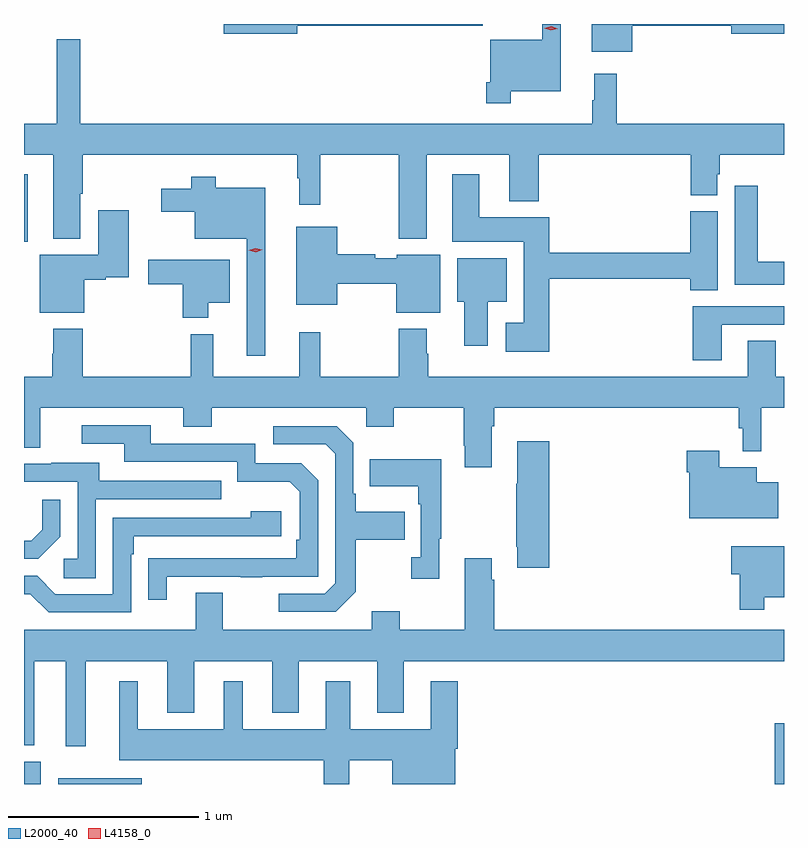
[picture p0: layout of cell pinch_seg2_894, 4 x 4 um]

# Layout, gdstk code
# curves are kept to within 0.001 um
import gdstk
lib = gdstk.Library(unit=1e-6, precision=1e-09)
def R(c, l, rs):  # rectangles x0, y0, x1, y1
    for r in rs: c.add(gdstk.rectangle(r[:2], r[2:], *l))
def P(c, l, *ps):  # polygons
    for p in ps: c.add(gdstk.Polygon(p, *l))
L2000_40 = (2000, 40)
L4158_0 = (4158, 0)

pinch_seg2_894 = lib.new_cell('pinch_seg2_894')
R(pinch_seg2_894, L2000_40, [(406.488,652.317,406.576,652.435), (406.668,652.317,407.107,652.348), (410.438,652.317,410.488,652.636), (406.488,655.172,406.507,655.525)])
P(pinch_seg2_894, L2000_40, [(409.051,655.964),(409.312,655.964),(409.312,656.317),(409.215,656.317),(409.215,656.233),(408.942,656.233),(408.942,656.011),(408.922,656.011),(408.922,655.899),(409.051,655.899)],
  [(407.926,656.308),(408.902,656.308),(408.902,656.317),(407.538,656.317),(407.538,656.266),(407.926,656.266)],
  [(409.69,656.308),(410.21,656.308),(410.21,656.266),(410.488,656.266),(410.488,656.317),(409.475,656.317),(409.475,656.171),(409.69,656.171)],
  [(406.783,655.423),(406.796,655.423),(406.796,655.628),(407.925,655.628),(407.925,655.505),(407.936,655.505),(407.936,655.365),(408.046,655.365),(408.046,655.628),(408.46,655.628),(408.46,655.187),(408.607,655.187),(408.607,655.628),(409.043,655.628),(409.043,655.385),(409.196,655.385),(409.196,655.628),(409.997,655.628),(409.997,655.417),(410.137,655.417),(410.137,655.527),(410.15,655.527),(410.15,655.628),(410.488,655.628),(410.488,655.792),(409.607,655.792),(409.607,656.056),(409.49,656.056),(409.49,655.916),(409.479,655.916),(409.479,655.792),(406.783,655.792),(406.783,656.236),(406.661,656.236),(406.661,655.792),(406.488,655.792),(406.488,655.628),(406.643,655.628),(406.643,655.187),(406.783,655.187)],
  [(409.253,654.976),(409.994,654.976),(409.994,654.916),(410.14,654.916),(410.14,655.332),(409.994,655.332),(409.994,655.112),(409.253,655.112),(409.253,655.3),(408.883,655.3),(408.883,655.525),(408.743,655.525),(408.743,655.172),(409.118,655.172),(409.118,654.745),(409.023,654.745),(409.023,654.593),(409.253,654.593)],
  [(407.758,655.456),(407.497,655.456),(407.497,655.513),(407.368,655.513),(407.368,655.45),(407.211,655.45),(407.211,655.328),(407.387,655.328),(407.387,655.187),(407.661,655.187),(407.661,654.57),(407.758,654.57)],
  [(410.488,655.066),(410.35,655.066),(410.35,655.465),(410.228,655.465),(410.228,654.944),(410.488,654.944)],
  [(406.804,654.971),(406.917,654.971),(406.917,654.983),(407.038,654.983),(407.038,655.336),(406.88,655.336),(406.88,655.102),(406.571,655.102),(406.571,654.797),(406.804,654.797)],
  [(408.679,655.102),(408.45,655.102),(408.45,655.084),(408.336,655.084),(408.336,655.106),(408.136,655.106),(408.136,655.249),(407.921,655.249),(407.921,654.839),(408.136,654.839),(408.136,654.95),(408.446,654.95),(408.446,654.797),(408.679,654.797)],
  [(408.928,654.854),(409.03,654.854),(409.03,655.084),(408.767,655.084),(408.767,654.854),(408.806,654.854),(408.806,654.624),(408.928,654.624)],
  [(407.458,654.851),(407.572,654.851),(407.572,655.075),(407.142,655.075),(407.142,654.946),(407.324,654.946),(407.324,654.77),(407.458,654.77)],
  [(410.161,654.735),(410.488,654.735),(410.488,654.831),(410.009,654.831),(410.009,654.546),(410.161,654.546)],
  [(408.949,654.2),(408.962,654.2),(408.962,654.296),(410.251,654.296),(410.251,654.189),(410.271,654.189),(410.271,654.068),(410.369,654.068),(410.369,654.296),(410.488,654.296),(410.488,654.46),(410.445,654.46),(410.445,654.65),(410.297,654.65),(410.297,654.46),(408.615,654.46),(408.615,654.581),(408.607,654.581),(408.607,654.712),(408.46,654.712),(408.46,654.46),(408.046,654.46),(408.046,654.694),(407.936,654.694),(407.936,654.46),(407.483,654.46),(407.483,654.685),(407.365,654.685),(407.365,654.46),(406.796,654.46),(406.796,654.712),(406.643,654.712),(406.643,654.581),(406.636,654.581),(406.636,654.46),(406.488,654.46),(406.488,654.088),(406.573,654.088),(406.573,654.296),(407.327,654.296),(407.327,654.197),(407.475,654.197),(407.475,654.296),(408.288,654.296),(408.288,654.197),(408.435,654.197),(408.435,654.296),(408.802,654.296),(408.802,654.097),(408.809,654.097),(408.809,653.985),(408.949,653.985)],
  [(407.239,653.409),(407.629,653.409),(407.629,653.404),(407.741,653.404),(407.741,653.409),(408.036,653.409),(408.036,653.916),(407.946,654.006),(407.706,654.006),(407.706,654.108),(407.155,654.108),(407.155,654.204),(406.791,654.204),(406.791,654.108),(407.015,654.108),(407.015,654.012),(407.61,654.012),(407.61,653.909),(407.887,653.909),(407.94,653.856),(407.94,653.602),(407.92,653.602),(407.92,653.505),(407.143,653.504),(407.143,653.286),(407.239,653.286)],
  [(408.235,653.329),(408.235,653.602),(408.491,653.602),(408.491,653.749),(408.235,653.749),(408.235,653.845),(408.222,653.845),(408.222,654.114),(408.135,654.201),(407.799,654.201),(407.799,654.105),(408.075,654.105),(408.126,654.054),(408.126,653.373),(408.072,653.319),(407.829,653.319),(407.829,653.223),(408.129,653.223)],
  [(409.253,654.121),(409.085,654.121),(409.085,653.897),(409.078,653.897),(409.078,653.566),(409.085,653.566),(409.085,653.454),(409.253,653.454)],
  [(410.458,653.905),(410.344,653.905),(410.344,653.983),(410.146,653.983),(410.146,654.07),(409.976,654.07),(409.976,653.957),(409.988,653.957),(409.988,653.717),(410.458,653.717)],
  [(408.673,653.609),(408.685,653.609),(408.685,654.025),(408.307,654.025),(408.307,653.885),(408.564,653.885),(408.564,653.789),(408.576,653.789),(408.576,653.51),(408.525,653.51),(408.525,653.397),(408.673,653.397)],
  [(406.866,653.817),(407.525,653.817),(407.525,653.913),(406.885,653.913),(406.885,654.007),(406.631,654.007),(406.631,654.003),(406.488,654.003),(406.488,653.907),(406.77,653.907),(406.77,653.502),(406.698,653.502),(406.698,653.401),(406.866,653.401)],
  [(406.68,653.618),(406.68,653.812),(406.583,653.812),(406.583,653.655),(406.526,653.598),(406.488,653.598),(406.488,653.502),(406.564,653.502)],
  [(407.052,653.525),(407.065,653.525),(407.065,653.622),(407.842,653.622),(407.842,653.752),(407.681,653.752),(407.681,653.718),(406.956,653.718),(406.956,653.316),(406.653,653.316),(406.557,653.412),(406.488,653.412),(406.488,653.316),(406.521,653.316),(406.617,653.22),(407.052,653.22)],
  [(410.383,653.3),(410.488,653.3),(410.488,653.569),(410.21,653.569),(410.21,653.422),(410.254,653.422),(410.254,653.235),(410.383,653.235)],
  [(406.488,652.52),(406.543,652.52),(406.543,652.964),(406.709,652.964),(406.709,652.515),(406.813,652.515),(406.813,652.964),(407.243,652.964),(407.243,652.691),(407.383,652.691),(407.383,652.964),(407.795,652.964),(407.795,652.691),(407.935,652.691),(407.935,652.964),(408.347,652.964),(408.347,652.691),(408.487,652.691),(408.487,652.964),(410.488,652.964),(410.488,653.128),(408.962,653.128),(408.962,653.393),(408.949,653.393),(408.949,653.506),(408.809,653.506),(408.809,653.128),(408.465,653.128),(408.465,653.227),(408.317,653.227),(408.317,653.128),(407.533,653.128),(407.533,653.323),(407.393,653.323),(407.393,653.128),(406.488,653.128)],
  [(408.199,652.442),(408.425,652.442),(408.425,652.317),(408.757,652.317),(408.757,652.502),(408.77,652.502),(408.77,652.858),(408.629,652.858),(408.629,652.606),(408.205,652.606),(408.205,652.858),(408.077,652.858),(408.077,652.606),(407.638,652.606),(407.638,652.858),(407.54,652.858),(407.54,652.606),(407.086,652.606),(407.086,652.858),(406.988,652.858),(406.988,652.442),(408.065,652.442),(408.065,652.317),(408.199,652.317)])
P(pinch_seg2_894, L4158_0, [(409.261,656.284),(409.225,656.295),(409.225,656.295),(409.225,656.295),(409.262,656.304),(409.297,656.292),(409.297,656.292),(409.297,656.292)],
  [(407.707,655.117),(407.671,655.125),(407.671,655.125),(407.671,655.126),(407.706,655.137),(407.742,655.129),(407.742,655.129),(407.742,655.129)])

lib.write_gds('pinch_seg2_894.gds')
